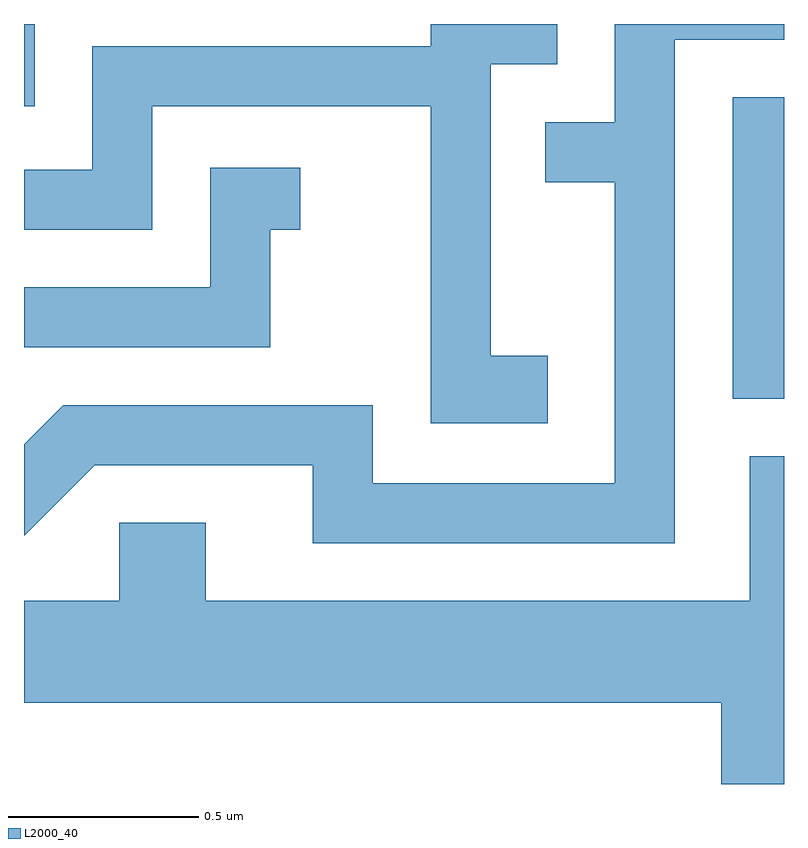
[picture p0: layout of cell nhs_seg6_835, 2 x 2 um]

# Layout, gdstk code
import gdstk
lib = gdstk.Library(unit=1e-6, precision=1e-09)
def R(c, l, rs):  # rectangles x0, y0, x1, y1
    for r in rs: c.add(gdstk.rectangle(r[:2], r[2:], *l))
def P(c, l, *ps):  # polygons
    for p in ps: c.add(gdstk.Polygon(p, *l))
L2000_40 = (2000, 40)

nhs_seg6_835 = lib.new_cell('nhs_seg6_835')
R(nhs_seg6_835, L2000_40, [(193.476,1544.176,193.611,1544.969), (191.611,1544.946,191.639,1545.162)])
P(nhs_seg6_835, L2000_40, [(193.324,1545.121),(193.611,1545.121),(193.611,1545.162),(193.166,1545.162),(193.166,1544.904),(192.983,1544.904),(192.983,1544.746),(193.166,1544.746),(193.166,1543.954),(192.529,1543.954),(192.529,1544.159),(191.714,1544.159),(191.611,1544.056),(191.611,1543.815),(191.797,1544.001),(192.371,1544.001),(192.371,1543.796),(193.324,1543.796)],
  [(192.989,1544.289),(192.839,1544.289),(192.839,1545.056),(193.014,1545.056),(193.014,1545.162),(192.681,1545.162),(192.681,1545.104),(191.791,1545.104),(191.791,1544.779),(191.611,1544.779),(191.611,1544.621),(191.949,1544.621),(191.949,1544.946),(192.681,1544.946),(192.681,1544.111),(192.989,1544.111)],
  [(192.259,1544.621),(192.338,1544.621),(192.338,1544.784),(192.101,1544.784),(192.101,1544.469),(191.611,1544.469),(191.611,1544.311),(192.259,1544.311)],
  [(193.611,1544.024),(193.521,1544.024),(193.521,1543.644),(192.089,1543.644),(192.089,1543.849),(191.861,1543.849),(191.861,1543.644),(191.611,1543.644),(191.611,1543.376),(193.446,1543.376),(193.446,1543.162),(193.611,1543.162)])

lib.write_gds('nhs_seg6_835.gds')
